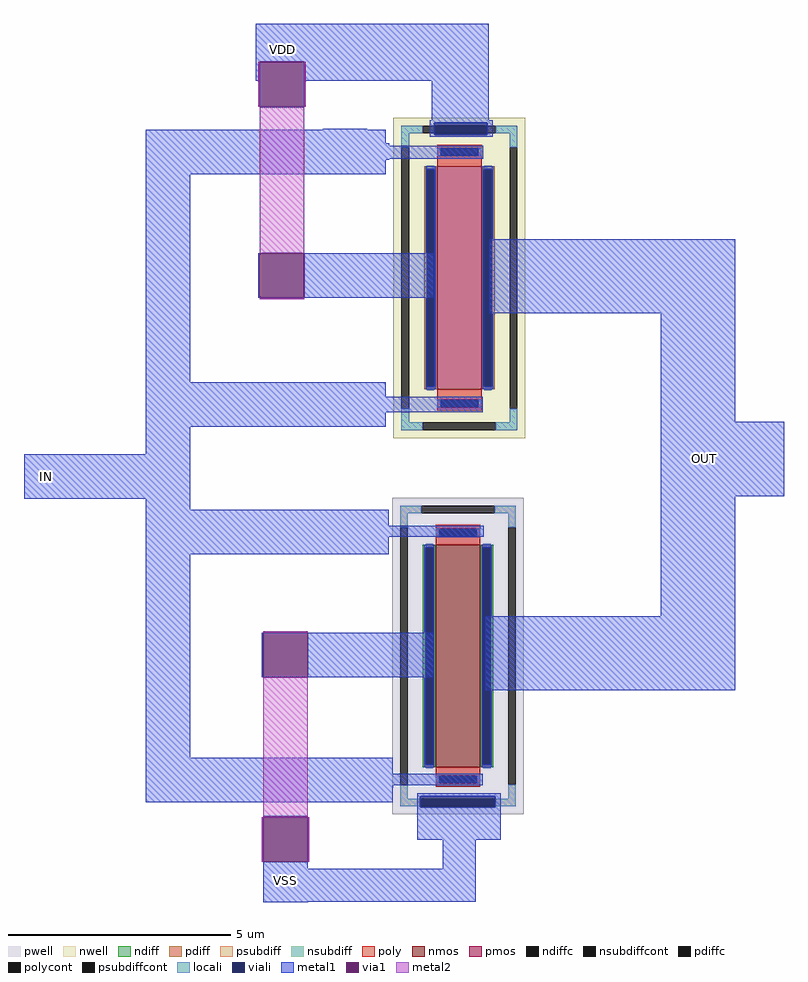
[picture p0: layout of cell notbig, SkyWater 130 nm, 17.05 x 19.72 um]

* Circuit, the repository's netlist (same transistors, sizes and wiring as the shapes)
** sch_path: /home/ttuser/tt08_um_alexjaeger_ringoscillator/xschem/notbig.sch
**.subckt notbig VDD VSS IN OUT
*.opin OUT
*.ipin IN
*.ipin VDD
*.ipin VSS
XM1 OUT IN VSS VSS sky130_fd_pr__nfet_01v8 L=1 W=5 nf=1 ad='int((nf+1)/2) * W/nf * 0.29' as='int((nf+2)/2) * W/nf * 0.29' pd='2*int((nf+1)/2) * (W/nf + 0.29)'
+ ps='2*int((nf+2)/2) * (W/nf + 0.29)' nrd='0.29 / W' nrs='0.29 / W' sa=0 sb=0 sd=0 mult=1 m=1
XM2 OUT IN VDD VDD sky130_fd_pr__pfet_01v8 L=1 W=5 nf=1 ad='int((nf+1)/2) * W/nf * 0.29' as='int((nf+2)/2) * W/nf * 0.29' pd='2*int((nf+1)/2) * (W/nf + 0.29)'
+ ps='2*int((nf+2)/2) * (W/nf + 0.29)' nrd='0.29 / W' nrs='0.29 / W' sa=0 sb=0 sd=0 mult=1 m=1
**.ends
.end

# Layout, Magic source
magic
tech sky130A
magscale 1 2
<< viali >>
rect 1160 1640 1398 1692
rect 1096 -1378 1434 -1330
<< metal1 >>
rect 358 1966 1404 2138
rect 358 1882 376 1966
rect 576 1882 1404 1966
rect 376 1760 576 1766
rect 1148 1704 1404 1882
rect 1138 1692 1422 1704
rect 658 1662 858 1666
rect -136 1600 942 1662
rect 1138 1640 1160 1692
rect 1398 1640 1422 1692
rect 1138 1630 1422 1640
rect -136 1590 958 1600
rect -136 1532 1380 1590
rect -136 1526 958 1532
rect -136 1462 942 1526
rect -136 528 64 1462
rect 370 908 376 1108
rect 576 908 1154 1108
rect 1405 837 2510 1171
rect -136 464 942 528
rect -136 394 1378 464
rect -136 328 942 394
rect 2176 351 2510 837
rect -136 206 64 328
rect -682 6 64 206
rect -136 -44 64 6
rect 2176 17 2729 351
rect -136 -116 956 -44
rect -136 -164 1382 -116
rect -136 -244 956 -164
rect -136 -1156 64 -244
rect 2176 -521 2510 17
rect 386 -796 392 -596
rect 592 -796 1154 -596
rect 1389 -855 2510 -521
rect -136 -1228 972 -1156
rect -136 -1280 1376 -1228
rect -136 -1292 976 -1280
rect -136 -1356 972 -1292
rect 1082 -1330 1458 -1316
rect 1082 -1378 1096 -1330
rect 1434 -1378 1458 -1330
rect 392 -1424 592 -1418
rect 1082 -1526 1458 -1378
rect 392 -1656 592 -1624
rect 1198 -1656 1346 -1526
rect 392 -1804 1346 -1656
rect 392 -1806 592 -1804
<< via1 >>
rect 376 1766 576 1966
rect 376 908 576 1108
rect 392 -796 592 -596
rect 392 -1624 592 -1424
<< metal2 >>
rect 370 1766 376 1966
rect 576 1766 582 1966
rect 376 1108 576 1766
rect 376 902 576 908
rect 392 -596 592 -590
rect 392 -1424 592 -796
rect 386 -1624 392 -1424
rect 592 -1624 598 -1424
use sky130_fd_pr__nfet_01v8_MMMA4V  XM1
transform 1 0 1266 0 1 -700
box -296 -710 296 710
use sky130_fd_pr__pfet_01v8_3HZ9VM  XM2
transform 1 0 1272 0 1 997
box -296 -719 296 719
<< labels >>
flabel metal1 -682 6 -482 206 0 FreeSans 256 0 0 0 IN
port 2 nsew
flabel metal1 376 1920 576 2120 0 FreeSans 256 0 0 0 VDD
port 0 nsew
flabel metal1 392 -1806 592 -1606 0 FreeSans 256 0 0 0 VSS
port 1 nsew
flabel metal1 2274 86 2474 286 0 FreeSans 256 0 0 0 OUT
port 3 nsew
<< end >>

# cell sky130_fd_pr__nfet_01v8_MMMA4V: kit device sky130_fd_pr__nfet_01v8, w 5.0 l 1.0 m 1 nf 1 diffcov 100 polycov 100 guard 1 glc 1 grc 1 gtc 1 gbc 1 tbcov 100 rlcov 100 topc 1 botc 1 poverlap 0 doverlap 1 lmin 0.15 wmin 0.42 compatible {sky130_fd_pr__nfet_01v8 sky130_fd_pr__nfet_01v8_lvt sky130_fd_bs_flash__special_sonosfet_star sky130_fd_pr__nfet_g5v0d10v5 sky130_fd_pr__nfet_05v0_nvt sky130_fd_pr__nfet_03v3_nvt} full_metal 1 viasrc 100 viadrn 100 viagate 100 viagb 0 viagr 0 viagl 0 viagt 0

# cell sky130_fd_pr__pfet_01v8_3HZ9VM: kit device sky130_fd_pr__pfet_01v8, w 5.0 l 1.0 m 1 nf 1 diffcov 100 polycov 100 guard 1 glc 1 grc 1 gtc 1 gbc 1 tbcov 100 rlcov 100 topc 1 botc 1 poverlap 0 doverlap 1 lmin 0.15 wmin 0.42 compatible {sky130_fd_pr__pfet_01v8 sky130_fd_pr__pfet_01v8_lvt sky130_fd_pr__pfet_01v8_hvt sky130_fd_pr__pfet_g5v0d10v5} full_metal 1 viasrc 100 viadrn 100 viagate 100 viagb 0 viagr 0 viagl 0 viagt 0
